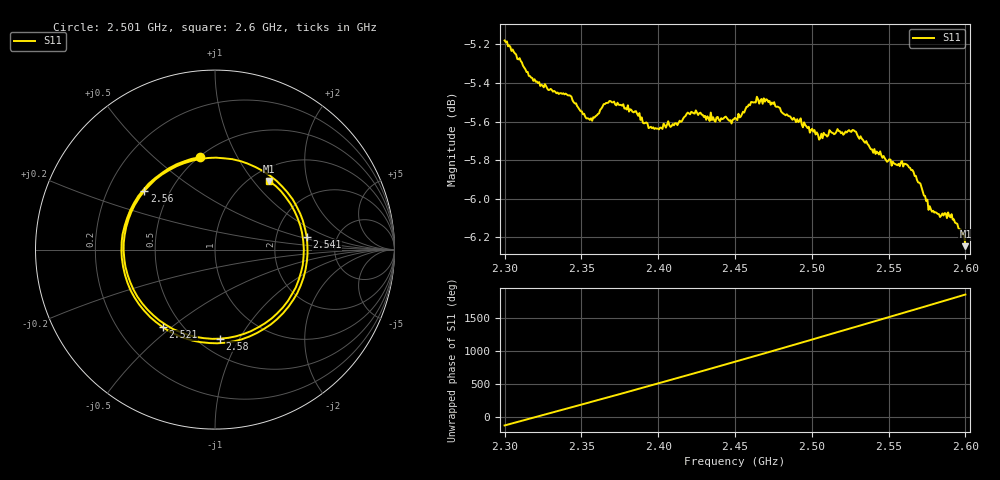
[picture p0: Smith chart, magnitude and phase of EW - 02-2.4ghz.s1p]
! NanoVNA-App
! Date: 2026-05-22 15:59:49
! Start: 2.3GHz Stop: 2.6GHz Points: 401
! S-Parameter data: F S11
# Hz S RI R 50
!  Frequency  S11_Real  S11_Imag
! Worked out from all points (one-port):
!   401 points, 2.3 GHz to 2.6 GHz, reference 50 ohm
!   lowest |S11| = -6.2 dB at 2.6 GHz (marker M1), VSWR 2.90, Z = 60.1 + j60.3 ohm
!   |S11| at or under -10 dB: nowhere
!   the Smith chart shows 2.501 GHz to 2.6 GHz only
!   S11 on the Smith chart (normalised r, x): 2.501 GHz: 0.51, +0.72; 2.521 GHz: 0.39, -0.47; 2.541 GHz: 3.01, +0.58; 2.56 GHz: 0.36, +0.32; 2.58 GHz: 0.63, -0.83; 2.6 GHz: 1.20, +1.21
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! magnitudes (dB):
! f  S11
! 2.3 GHz  -5.2
! 2.317 GHz  -5.4
! 2.337 GHz  -5.5
! 2.342 GHz  -5.5
! 2.356 GHz  -5.6
! 2.368 GHz  -5.5
! 2.375 GHz  -5.5
! 2.386 GHz  -5.6
! 2.395 GHz  -5.6
! 2.413 GHz  -5.6
! 2.423 GHz  -5.6
! 2.437 GHz  -5.6
! 2.45 GHz  -5.6
! 2.466 GHz  -5.5
! 2.474 GHz  -5.5
! 2.487 GHz  -5.6
! 2.501 GHz  -5.7
! 2.506 GHz  -5.7
! 2.521 GHz  -5.7
! 2.525 GHz  -5.7
! 2.541 GHz  -5.7
! 2.554 GHz  -5.8
! 2.56 GHz  -5.8
! 2.562 GHz  -5.8
! 2.578 GHz  -6.1
! 2.58 GHz  -6.1
! 2.59 GHz  -6.1
! 2.6 GHz  -6.2
